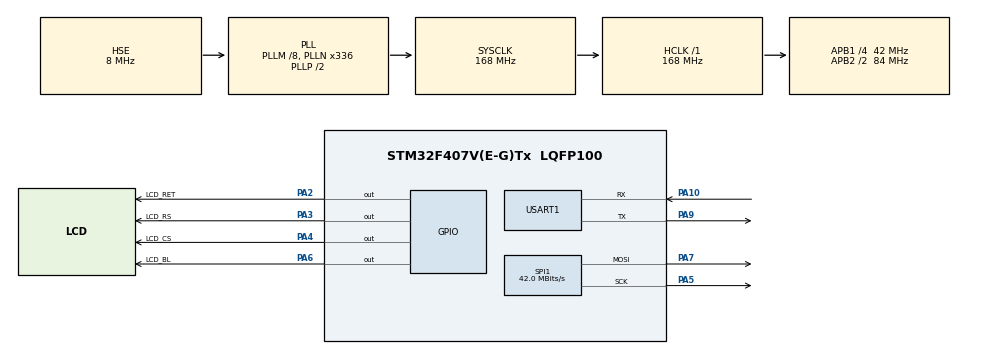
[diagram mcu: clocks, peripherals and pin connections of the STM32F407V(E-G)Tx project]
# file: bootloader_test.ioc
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Dma.Request0=USART1_RX
Dma.Request1=USART1_TX
Dma.Request2=SPI1_TX
Dma.SPI1_TX.2.Direction=DMA_MEMORY_TO_PERIPH
Dma.SPI1_TX.2.FIFOMode=DMA_FIFOMODE_DISABLE
Dma.SPI1_TX.2.Instance=DMA2_Stream3
Dma.SPI1_TX.2.MemDataAlignment=DMA_MDATAALIGN_BYTE
Dma.SPI1_TX.2.MemInc=DMA_MINC_ENABLE
Dma.SPI1_TX.2.Mode=DMA_NORMAL
Dma.SPI1_TX.2.PeriphDataAlignment=DMA_PDATAALIGN_BYTE
Dma.SPI1_TX.2.PeriphInc=DMA_PINC_DISABLE
Dma.SPI1_TX.2.Priority=DMA_PRIORITY_LOW
Dma.USART1_RX.0.Direction=DMA_PERIPH_TO_MEMORY
Dma.USART1_RX.0.FIFOMode=DMA_FIFOMODE_DISABLE
Dma.USART1_RX.0.Instance=DMA2_Stream2
Dma.USART1_RX.0.MemDataAlignment=DMA_MDATAALIGN_BYTE
Dma.USART1_RX.0.MemInc=DMA_MINC_ENABLE
Dma.USART1_RX.0.Mode=DMA_CIRCULAR
Dma.USART1_RX.0.PeriphDataAlignment=DMA_PDATAALIGN_BYTE
Dma.USART1_RX.0.PeriphInc=DMA_PINC_DISABLE
Dma.USART1_RX.0.Priority=DMA_PRIORITY_LOW
Dma.USART1_TX.1.Direction=DMA_MEMORY_TO_PERIPH
Dma.USART1_TX.1.FIFOMode=DMA_FIFOMODE_DISABLE
Dma.USART1_TX.1.Instance=DMA2_Stream7
Dma.USART1_TX.1.MemDataAlignment=DMA_MDATAALIGN_BYTE
Dma.USART1_TX.1.MemInc=DMA_MINC_ENABLE
Dma.USART1_TX.1.Mode=DMA_NORMAL
Dma.USART1_TX.1.PeriphDataAlignment=DMA_PDATAALIGN_BYTE
Dma.USART1_TX.1.PeriphInc=DMA_PINC_DISABLE
Dma.USART1_TX.1.Priority=DMA_PRIORITY_LOW
FREERTOS.Tasks01=led,0,128,ledTask,Default,NULL,Dynamic,NULL,NULL;oledmenu,0,256,oledmenuTask,Default,NULL,Dynamic,NULL,NULL;wifi_get,2,384,wifi_getTask,Default,NULL,Dynamic,NULL,NULL;ota_flash,2,256,ota_flashTask,Default,NULL,Dynamic,NULL,NULL;request_upgrade,0,128,request_upgradeTask,Default,NULL,Dynamic,NULL,NULL;lcd,-1,256,lcd_task,Default,NULL,Dynamic,NULL,NULL;feeddogTask,2,128,feeddog,Default,NULL,Dynamic,NULL,NULL
IWDG.Prescaler=IWDG_PRESCALER_64
Mcu.Family=STM32F4
Mcu.Name=STM32F407V(E-G)Tx
Mcu.Package=LQFP100
NVIC.DMA2_Stream2_IRQn=true\:5\:0\:false\:false\:true\:true\:false\:true\:true
NVIC.DMA2_Stream3_IRQn=true\:5\:0\:false\:false\:true\:true\:false\:true\:true
NVIC.DMA2_Stream7_IRQn=true\:5\:0\:false\:false\:true\:true\:false\:true\:true
NVIC.PriorityGroup=NVIC_PRIORITYGROUP_4
NVIC.SPI1_IRQn=true\:5\:0\:false\:false\:true\:true\:true\:true\:true
NVIC.TIM1_UP_TIM10_IRQn=true\:15\:0\:false\:false\:true\:false\:false\:true\:true
NVIC.TimeBase=TIM1_UP_TIM10_IRQn
NVIC.TimeBaseIP=TIM1
NVIC.USART1_IRQn=true\:5\:0\:false\:false\:true\:true\:false\:true\:true
PA10.Mode=Asynchronous
PA10.Signal=USART1_RX
PA13.Mode=Serial_Wire
PA13.Signal=SYS_JTMS-SWDIO
PA14.Mode=Serial_Wire
PA14.Signal=SYS_JTCK-SWCLK
PA2.GPIO_Label=LCD_RET
PA2.GPIO_Speed=GPIO_SPEED_FREQ_MEDIUM
PA2.Signal=GPIO_Output
PA3.GPIO_Label=LCD_RS
PA3.GPIO_Speed=GPIO_SPEED_FREQ_MEDIUM
PA3.Signal=GPIO_Output
PA4.GPIO_Label=LCD_CS
PA4.GPIO_Speed=GPIO_SPEED_FREQ_MEDIUM
PA4.Signal=GPIO_Output
PA5.GPIO_Speed=GPIO_SPEED_FREQ_VERY_HIGH
PA5.Mode=TX_Only_Simplex_Unidirect_Master
PA5.Signal=SPI1_SCK
PA6.GPIO_Label=LCD_BL
PA6.GPIO_Speed=GPIO_SPEED_FREQ_MEDIUM
PA6.Signal=GPIO_Output
PA7.GPIO_Speed=GPIO_SPEED_FREQ_VERY_HIGH
PA7.Mode=TX_Only_Simplex_Unidirect_Master
PA7.Signal=SPI1_MOSI
PA9.Mode=Asynchronous
PA9.Signal=USART1_TX
PC14-OSC32_IN.Mode=LSE-External-Oscillator
PC14-OSC32_IN.Signal=RCC_OSC32_IN
PC15-OSC32_OUT.Mode=LSE-External-Oscillator
PC15-OSC32_OUT.Signal=RCC_OSC32_OUT
PH0-OSC_IN.Mode=HSE-External-Oscillator
PH0-OSC_IN.Signal=RCC_OSC_IN
PH1-OSC_OUT.Mode=HSE-External-Oscillator
PH1-OSC_OUT.Signal=RCC_OSC_OUT
ProjectManager.HeapSize=0x200
ProjectManager.StackSize=0x400
ProjectManager.TargetToolchain=MDK-ARM V5.32
RCC.48MHZClocksFreq_Value=84000000
RCC.AHBFreq_Value=168000000
RCC.APB1CLKDivider=RCC_HCLK_DIV4
RCC.APB1Freq_Value=42000000
RCC.APB1TimFreq_Value=84000000
RCC.APB2CLKDivider=RCC_HCLK_DIV2
RCC.APB2Freq_Value=84000000
RCC.APB2TimFreq_Value=168000000
RCC.CortexFreq_Value=168000000
RCC.HCLKFreq_Value=168000000
RCC.HSE_VALUE=8000000
RCC.HSI_VALUE=16000000
RCC.PLLM=8
RCC.PLLN=336
RCC.PLLSourceVirtual=RCC_PLLSOURCE_HSE
RCC.SYSCLKFreq_VALUE=168000000
RCC.SYSCLKSource=RCC_SYSCLKSOURCE_PLLCLK
RCC.VCOOutputFreq_Value=336000000
SPI1.CalculateBaudRate=42.0 MBits/s
SPI1.Direction=SPI_DIRECTION_2LINES
SPI1.Mode=SPI_MODE_MASTER
SPI1.VirtualType=VM_MASTER
USART1.VirtualMode=VM_ASYNC
VP_FREERTOS_VS_CMSIS_V1.Mode=CMSIS_V1
VP_IWDG_VS_IWDG.Mode=IWDG_Activate
VP_SYS_VS_tim1.Mode=TIM1
board=custom

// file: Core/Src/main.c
/* USER CODE BEGIN Header */
/**
 ******************************************************************************
 * @file           : main.c
 * @brief          : Main program body
 ******************************************************************************
 * @attention
 *
 * Copyright (c) 2026 STMicroelectronics.
 * All rights reserved.
 *
 * This software is licensed under terms that can be found in the LICENSE file
 * in the root directory of this software component.
 * If no LICENSE file comes with this software, it is provided AS-IS.
 *
 ******************************************************************************
 */
/* USER CODE END Header */
#include "main.h"
#include "cmsis_os.h"
#include "dma.h"
#include "iwdg.h"
#include "spi.h"
#include "usart.h"
#include "gpio.h"

/* USER CODE BEGIN Includes */
#include "ota_receive.h"
/* USER CODE END Includes */

void SystemClock_Config(void);
void MX_FREERTOS_Init(void);

int main(void)
{

  /* USER CODE BEGIN 1 */
	/* 向量表必须指向本镜像实际链接的槽：A 版 0x08010000，B 版 0x08080000 */
	SCB->VTOR = APP_IMAGE_BASE;
  /* USER CODE END 1 */

  /* MCU Configuration--------------------------------------------------------*/

  /* Reset of all peripherals, Initializes the Flash interface and the Systick. */
  HAL_Init();

  /* Configure the system clock */
  SystemClock_Config();

  /* Initialize all configured peripherals */
  MX_GPIO_Init();
  MX_DMA_Init();
  MX_USART1_UART_Init();
  MX_SPI1_Init();
  MX_IWDG_Init();
  /* 调试暂停时冻结 IWDG，否则在 Keil 里单步几秒就会被看门狗复位 */
  __HAL_DBGMCU_FREEZE_IWDG();
  /* USER CODE BEGIN 2 */

	GPIO_InitTypeDef GPIO_InitStructure;
	GPIO_InitStructure.Pin = GPIO_PIN_1;
	GPIO_InitStructure.Mode = GPIO_MODE_OUTPUT_PP;
	GPIO_InitStructure.Speed = GPIO_SPEED_FREQ_MEDIUM;
	HAL_GPIO_Init(GPIOA, &GPIO_InitStructure);

	/*
	 * 启动初始化：
	 *   1. 元数据缺失时用当前运行槽建立第一份配置；
	 *   2. Bootloader 若做过回退，这里修正 active_slot 并标记失败槽；
	 *   3. 注意：不清 trial_pending，试运行确认由心跳任务在健康运行 5s 后完成。
	 */
	ota_app_boot_init(APP_IMAGE_BASE);

  /* USER CODE END 2 */

  /* Call init function for freertos objects (in cmsis_os2.c) */
  MX_FREERTOS_Init();

  /* 交给调度器前先喂一次狗，给任务启动留出完整的看门狗窗口 */
  HAL_IWDG_Refresh(&hiwdg);

  /* Start scheduler */
  osKernelStart();

  /* We should never get here as control is now taken by the scheduler */

  /* Infinite loop */
	while (1)
	{

	}
}

void SystemClock_Config(void)
{
  RCC_OscInitTypeDef RCC_OscInitStruct = {0};
  RCC_ClkInitTypeDef RCC_ClkInitStruct = {0};

  /** Configure the main internal regulator output voltage
  */
  __HAL_RCC_PWR_CLK_ENABLE();
  __HAL_PWR_VOLTAGESCALING_CONFIG(PWR_REGULATOR_VOLTAGE_SCALE1);

  /** Initializes the RCC Oscillators according to the specified parameters
  * in the RCC_OscInitTypeDef structure.
  */
  RCC_OscInitStruct.OscillatorType = RCC_OSCILLATORTYPE_LSI|RCC_OSCILLATORTYPE_HSE;
  RCC_OscInitStruct.HSEState = RCC_HSE_ON;
  RCC_OscInitStruct.LSIState = RCC_LSI_ON;
  RCC_OscInitStruct.PLL.PLLState = RCC_PLL_ON;
  RCC_OscInitStruct.PLL.PLLSource = RCC_PLLSOURCE_HSE;
  RCC_OscInitStruct.PLL.PLLM = 8;
  RCC_OscInitStruct.PLL.PLLN = 336;
  RCC_OscInitStruct.PLL.PLLP = RCC_PLLP_DIV2;
  RCC_OscInitStruct.PLL.PLLQ = 4;
  if (HAL_RCC_OscConfig(&RCC_OscInitStruct) != HAL_OK)
  {
    Error_Handler();
  }

  /** Initializes the CPU, AHB and APB buses clocks
  */
  RCC_ClkInitStruct.ClockType = RCC_CLOCKTYPE_HCLK|RCC_CLOCKTYPE_SYSCLK
                              |RCC_CLOCKTYPE_PCLK1|RCC_CLOCKTYPE_PCLK2;
  RCC_ClkInitStruct.SYSCLKSource = RCC_SYSCLKSOURCE_PLLCLK;
  RCC_ClkInitStruct.AHBCLKDivider = RCC_SYSCLK_DIV1;
  RCC_ClkInitStruct.APB1CLKDivider = RCC_HCLK_DIV4;
  RCC_ClkInitStruct.APB2CLKDivider = RCC_HCLK_DIV2;

  if (HAL_RCC_ClockConfig(&RCC_ClkInitStruct, FLASH_LATENCY_5) != HAL_OK)
  {
    Error_Handler();
  }
}

void HAL_TIM_PeriodElapsedCallback(TIM_HandleTypeDef *htim)
{
  if (htim->Instance == TIM1)
  {
    HAL_IncTick();
  }
}

void Error_Handler(void)
{
	__disable_irq();
	while (1)
	{
	}
}

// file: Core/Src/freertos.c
/* USER CODE BEGIN Header */
/**
 ******************************************************************************
 * File Name          : freertos.c
 * Description        : Code for freertos applications
 ******************************************************************************
 * @attention
 *
 * Copyright (c) 2026 STMicroelectronics.
 * All rights reserved.
 *
 * This software is licensed under terms that can be found in the LICENSE file
 * in the root directory of this software component.
 * If no LICENSE file comes with this software, it is provided AS-IS.
 *
 ******************************************************************************
 */
/* USER CODE END Header */

#include "FreeRTOS.h"
#include "task.h"
#include "main.h"
#include "cmsis_os.h"

/* USER CODE BEGIN Includes */
#include "stm32f4xx_hal.h"
#include <stdio.h>
#include "string.h"
#include "usart.h"
#include "iwdg.h"
#include "ota_receive.h"
#include "stream_buffer.h"
#include "queue.h"
#include "QDTFT_demo.h"
#include "Lcd_Driver.h"
#include "GUI.h"
/* USER CODE END Includes */

/* USER CODE BEGIN PD */

/*
 * 心跳位图：每个关键任务每轮循环给自己置一位，
 * feeddog 任务按 1s 窗口检查所有位是否都出现，全齐才喂狗。
 * 这样 IWDG 保护的是“任务级存活”，而不只是“CPU 还在跑”。
 */
#define HB_WIFI         (1U << 0)
#define HB_FLASH        (1U << 1)
#define HB_UPGRADE      (1U << 2)
#define HB_APP          (1U << 3)
#define HB_ALL          (HB_WIFI | HB_FLASH | HB_UPGRADE | HB_APP)

#define HB_CHECK_MS     100U
#define HB_WINDOW_TICKS (1000U / HB_CHECK_MS)   /* 1s 内必须收到所有任务的心跳 */

/* USER CODE END PD */

/* USER CODE BEGIN Variables */

/* 结束帧解析出的固件信息，供 request_upgrade_task 写入 config */
static uint32_t g_firmware_size = 0;
static uint32_t g_firmware_crc  = 0;
static uint32_t g_target_slot   = 0;   /* 本次下载写入的槽：0 = A，1 = B */

/* 各关键任务的心跳位图，由 feeddog 任务按窗口收集 */
static volatile uint32_t g_hb_mask = 0;

/* 固件下载中 / 元数据写入中：两条流程不能同时操作 Flash */
static volatile uint32_t g_ota_busy  = 0;
static volatile uint32_t g_meta_busy = 0;

static void hb_set(uint32_t bit)
{
	taskENTER_CRITICAL();
	g_hb_mask |= bit;
	taskEXIT_CRITICAL();
}

/* USER CODE END Variables */
osThreadId ledHandle;
osThreadId oledmenuHandle;
osThreadId wifi_getHandle;
osThreadId ota_flashHandle;
osThreadId request_upgradeHandle;
osThreadId lcdHandle;
osThreadId feeddogTaskHandle;

void ledTask(void const * argument);
void oledmenuTask(void const * argument);
void wifi_getTask(void const * argument);
void ota_flashTask(void const * argument);
void request_upgradeTask(void const * argument);
void lcd_task(void const * argument);
void feeddog(void const * argument);

void MX_FREERTOS_Init(void); /* (MISRA C 2004 rule 8.1) */

/* GetIdleTaskMemory prototype (linked to static allocation support) */
void vApplicationGetIdleTaskMemory( StaticTask_t **ppxIdleTaskTCBBuffer, StackType_t **ppxIdleTaskStackBuffer, uint32_t *pulIdleTaskStackSize );

/* USER CODE BEGIN GET_IDLE_TASK_MEMORY */
static StaticTask_t xIdleTaskTCBBuffer;
static StackType_t xIdleStack[configMINIMAL_STACK_SIZE];

void vApplicationGetIdleTaskMemory(StaticTask_t **ppxIdleTaskTCBBuffer, StackType_t **ppxIdleTaskStackBuffer, uint32_t *pulIdleTaskStackSize)
{
	*ppxIdleTaskTCBBuffer = &xIdleTaskTCBBuffer;
	*ppxIdleTaskStackBuffer = &xIdleStack[0];
	*pulIdleTaskStackSize = configMINIMAL_STACK_SIZE;
	/* place for user code */
}
/* USER CODE END GET_IDLE_TASK_MEMORY */

void MX_FREERTOS_Init(void) {
  /* USER CODE BEGIN Init */
	/* 创建流缓冲区与队列：必须在任何任务使用它们之前调用 */
	ota_receive_init();
  /* USER CODE END Init */

  /* USER CODE BEGIN RTOS_QUEUES */
	/* xFrameQueue / atQueue 由 ota_receive_init() 创建：元素分别是 fw_frame_t 和 AT_LINE_MAX 字节的行，
	   不能用 CMSIS 消息队列（只支持 1/2/4/8 字节元素） */
  /* USER CODE END RTOS_QUEUES */

  /* Create the thread(s) */
  /* definition and creation of led */
  osThreadDef(led, ledTask, osPriorityNormal, 0, 128);
  ledHandle = osThreadCreate(osThread(led), NULL);

  /* definition and creation of oledmenu */
  osThreadDef(oledmenu, oledmenuTask, osPriorityNormal, 0, 256);
  oledmenuHandle = osThreadCreate(osThread(oledmenu), NULL);

  /* definition and creation of wifi_get */
  osThreadDef(wifi_get, wifi_getTask, osPriorityHigh, 0, 384);
  wifi_getHandle = osThreadCreate(osThread(wifi_get), NULL);

  /* definition and creation of ota_flash */
  osThreadDef(ota_flash, ota_flashTask, osPriorityHigh, 0, 256);
  ota_flashHandle = osThreadCreate(osThread(ota_flash), NULL);

  /* definition and creation of request_upgrade */
  osThreadDef(request_upgrade, request_upgradeTask, osPriorityNormal, 0, 512);
  request_upgradeHandle = osThreadCreate(osThread(request_upgrade), NULL);

  /* definition and creation of lcd */
  osThreadDef(lcd, lcd_task, osPriorityBelowNormal, 0, 256);
  lcdHandle = osThreadCreate(osThread(lcd), NULL);

  /* definition and creation of feeddogTask */
  osThreadDef(feeddogTask, feeddog, osPriorityHigh, 0, 512);
  feeddogTaskHandle = osThreadCreate(osThread(feeddogTask), NULL);

  /* USER CODE BEGIN RTOS_THREADS */
	/* ota_flashTask 通过这个句柄通知 request_upgradeTask，必须在任务启动前绑定 */
	xrequest_upgrade_taskHandle = request_upgradeHandle;
  /* USER CODE END RTOS_THREADS */

}

void ledTask(void const * argument)
{
  /* USER CODE BEGIN ledTask */
    HAL_GPIO_WritePin(GPIOA, GPIO_PIN_1,GPIO_PIN_RESET);
    osDelay(500);

	/* Infinite loop */
	for (;;)
	{
		hb_set(HB_APP);
		HAL_GPIO_TogglePin(GPIOA, GPIO_PIN_1);

		osDelay(500);
	}
  /* USER CODE END ledTask */
}

void oledmenuTask(void const * argument)
{
  /* USER CODE BEGIN oledmenuTask */
	/* Infinite loop */
	for (;;)
	{
		static const char msg[] = "here is oledmenuTask!\r\n";
		uart_send((const uint8_t *)msg, sizeof(msg) - 1);
		osDelay(10000);
	}
  /* USER CODE END oledmenuTask */
}

/* USER CODE BEGIN Header_wifi_getTask */
/**
 * @brief Function implementing the wifi_get thread.
 * @param argument: Not used
 * @retval None
 */
/* ==================== 逐字节解析帧状态机 + AT 行处理 ==================== */
/* USER CODE END Header_wifi_getTask */
void wifi_getTask(void const * argument)
{
  /* USER CODE BEGIN wifi_getTask */
	/* Infinite loop */

	uint8_t byte;
	uint8_t line[AT_LINE_MAX];
	size_t line_len = 0;
	parser_t parser;

	/* 初始化解析器 */
	memset(&parser, 0, sizeof(parser));
	parser.state = 0; /* ST_HEADER_1 */

	TickType_t last_report = xTaskGetTickCount();

	for (;;)
	{
		hb_set(HB_WIFI);

		/*
		 * 每秒打印一次状态。
		 * 注意：这里不能调用 osDelay()，否则整个循环被拖成 1 字节/秒，
		 * OTA 数据会被 StreamBuffer 丢弃，永远收不到结束帧。
		 */
		if ((xTaskGetTickCount() - last_report) >= pdMS_TO_TICKS(1000))
		{
			char version_str[32];
			last_report = xTaskGetTickCount();

			/* 将 0x00010001 拆解成 V1.1 的字符串 */
			sprintf(version_str, "Version: V%d.%d\r\n",
			        (CURRENT_VERSION >> 16) & 0xFF, CURRENT_VERSION & 0xFF);
			uart_send((uint8_t *)version_str, strlen(version_str));

			static const char msg[] = "here is wifi_getTask!\r\n";
			uart_send((const uint8_t *)msg, sizeof(msg) - 1);
		}

		/* 一次读一个字节；20ms 超时只是为了回到循环顶部打印状态 */
		if (xStreamBufferReceive(uartStreamBuffer, &byte, 1, pdMS_TO_TICKS(20)) != 1)
			continue;

		/* ---------- 状态机 ---------- */
		switch (parser.state)
		{

		/* ===== 状态 0：等 0x55，同时处理 AT 行 ===== */
		case 0: /* ST_HEADER_1 */
			/* AT 行处理：遇到 \n 提交一行 */
			if (byte == '\n' && line_len > 0)
			{
				line[line_len] = '\0';
				xQueueSend(atQueue, line, 0);
				line_len = 0;
			}
			else if (byte != '\r')
			{
				if (line_len < AT_LINE_MAX - 1)
					line[line_len++] = byte;
			}

			/* 检测帧头起点 */
			if (byte == FRAME_HEADER_1)
			{
				parser.state = 1; /* ST_HEADER_2 */
			}
			break;

		/* ===== 状态 1：等 0x44 ===== */
		case 1: /* ST_HEADER_2 */
			if (byte == FRAME_HEADER_2)
			{
				/* 帧头确认，从帧池分配 slot */
				parser.slot = frame_pool_alloc();
				if (parser.slot == NULL)
				{
					parser.state = 0; /* 无空闲 slot，丢弃这一帧 */
					break;
				}
				parser.crc32 = 0;
				parser.crc_byte_idx = 0;
				parser.data_idx = 0;
				parser.state = 2; /* ST_TOTAL */
			}
			else if (byte == FRAME_HEADER_1)
			{
				/* 连续 0x55，保持在 ST_HEADER_2 */
				parser.state = 1;
			}
			else
			{
				/* 不是 0x44，回起点；当前字节按 AT 处理 */
				if (byte == '\n' && line_len > 0)
				{
					line[line_len] = '\0';
					xQueueSend(atQueue, line, 0);
					line_len = 0;
				}
				else if (byte != '\r')
				{
					if (line_len < AT_LINE_MAX - 1)
						line[line_len++] = byte;
				}
				parser.state = 0;
			}
			break;

		/* ===== 状态 2：读总包数 ===== */
		case 2: /* ST_TOTAL */
			parser.total_packets = byte;
			parser.state = 3; /* ST_CURRENT */
			break;

		/* ===== 状态 3：读当前包号 ===== */
		case 3: /* ST_CURRENT */
			parser.current_packet = byte;
			parser.data_len = 0;
			parser.len_byte_idx = 0;
			parser.state = 4; /* ST_LEN */
			break;

		/* ===== 状态 4：读实际长度（2 字节，小端） ===== */
		case 4: /* ST_LEN */
			parser.data_len |= (uint16_t)((uint16_t)byte << (parser.len_byte_idx * 8));
			parser.len_byte_idx++;
			if (parser.len_byte_idx >= 2)
			{
				if (parser.data_len == 0 || parser.data_len > DATA_FRAME_LEN)
				{
					/* 非法长度，回起点，释放 slot */
					frame_pool_free(parser.slot);
					parser.slot = NULL;
					parser.state = 0;
				}
				else
				{
					parser.crc_byte_idx = 0;
					parser.state = 5; /* ST_CRC */
				}
			}
			break;

		/* ===== 状态 5：读 4 字节 CRC32（小端） ===== */
		case 5: /* ST_CRC */
			parser.crc32 |= ((uint32_t)byte) << (parser.crc_byte_idx * 8);
			parser.crc_byte_idx++;
			if (parser.crc_byte_idx >= 4)
			{
				parser.data_idx = 0;
				parser.state = 6; /* ST_DATA */
			}
			break;

		/* ===== 状态 6：读数据（固定 DATA_FRAME_LEN 字节） ===== */
		case 6: /* ST_DATA */
			parser.slot->buf[parser.data_idx++] = byte;
			if (parser.data_idx >= DATA_FRAME_LEN)
			{
				parser.state = 7; /* ST_TAIL_1 */
			}
			break;

		/* ===== 状态 7：等 0x33 ===== */
		case 7: /* ST_TAIL_1 */
			if (byte == FRAME_TAIL_1)
			{
				parser.state = 8; /* ST_TAIL_2 */
			}
			else
			{
				frame_pool_free(parser.slot);
				parser.slot = NULL;
				parser.state = 0;
			}
			break;

		/* ===== 状态 8：等 0x22，帧完成 ===== */
		case 8: /* ST_TAIL_2 */
			if (byte == FRAME_TAIL_2)
			{
				/* 帧完成，校验 CRC */
				parser.crc_calc = calculate_crc32_ex(
					parser.total_packets,
					parser.current_packet,
					parser.data_len,
					parser.slot->buf);

				if (parser.crc_calc == parser.crc32)
				{
					/* CRC 通过，交给 Flash 写入 */
					fw_frame_t frame;
					frame.total_packets = parser.total_packets;
					frame.current_packet = parser.current_packet;
					frame.data_len = parser.data_len;
					frame.crc32 = parser.crc32;
					frame.slot = parser.slot;

					if (xQueueSend(xFrameQueue, &frame, 0) != pdTRUE)
					{
						/* 队列满，归还 slot */
						frame_pool_free(parser.slot);
					}
					/* 注意：slot 在这里不 free，由 Flash 任务 free */
				}
				else
				{
					/* CRC 失败，归还 slot */
					frame_pool_free(parser.slot);
				}
				parser.slot = NULL;
				parser.state = 0;
				line_len = 0;
			}
			else
			{
				frame_pool_free(parser.slot);
				parser.slot = NULL;
				parser.state = 0;
			}
			break;

		default:
			parser.state = 0;
			break;
		}
	}
  /* USER CODE END wifi_getTask */
}

/* USER CODE BEGIN Header_ota_flashTask */
/**
 * @brief Function implementing the ota_flash thread.
 * @param argument: Not used
 * @retval None
 */
/* ==================== Flash 写任务 ==================== */
/* USER CODE END Header_ota_flashTask */
void ota_flashTask(void const * argument)
{
  /* USER CODE BEGIN ota_flashTask */
	/* Infinite loop */

	fw_frame_t frame;
	uint32_t write_addr;
	uint32_t received_count = 0;        /* 已成功写入的数据帧数，用于收齐校验 */
	uint32_t erased_sector_base = 0xFFFFFFFFU;  /* 本次传输已擦除的扇区基址 */
	uint32_t target_base = 0;           /* 本次传输的目标槽基址 */
	uint32_t target_slot = 0;           /* 本次传输的目标槽：0 = A，1 = B */

	(void)argument;

	for (;;)
	{
		hb_set(HB_FLASH);

		/* 200ms 超时只是为了周期性回到循环顶部打卡，收帧仍按队列事件触发 */
		if (xQueueReceive(xFrameQueue, &frame, pdMS_TO_TICKS(200)) != pdTRUE)
			continue;

		/* 判断是否是结束帧 */
		if (frame.current_packet == PACKET_END)
		{
			uint32_t fw_size = 0;
			uint32_t fw_crc = 0;
			int verified = 0;

			/* 结束帧负载：data[0:4]=固件总长(小端), data[4:8]=整包 CRC32(小端) */
			if (frame.data_len >= 8)
			{
				fw_size = (uint32_t)frame.slot->buf[0] | ((uint32_t)frame.slot->buf[1] << 8) | ((uint32_t)frame.slot->buf[2] << 16) | ((uint32_t)frame.slot->buf[3] << 24);
				fw_crc = (uint32_t)frame.slot->buf[4] | ((uint32_t)frame.slot->buf[5] << 8) | ((uint32_t)frame.slot->buf[6] << 16) | ((uint32_t)frame.slot->buf[7] << 24);
			}
			frame_pool_free(frame.slot);

			/*
			 * 全量校验：收齐包数 + 直接读回目标槽算整包 CRC + 向量表检查。
			 * 只有这三项都通过，才允许把 active_slot 切到新槽。
			 */
			if (target_base != 0U && fw_size != 0U && fw_size <= SLOT_CAPACITY &&
			    received_count == frame.total_packets)
			{
				uint32_t calc_crc = ota_crc32_bytes((const void *)target_base, fw_size);

				if (calc_crc == fw_crc && ota_image_vectors_valid(target_base))
				{
					g_firmware_size = fw_size;
					g_firmware_crc  = fw_crc;
					g_target_slot   = target_slot;
					verified = 1;
				}
			}

			if (verified)
			{
				xTaskNotify(xrequest_upgrade_taskHandle, 0x01, eSetValueWithOverwrite);
			}
			else
			{
				char err[72];
				int n = sprintf(err, "ota verify fail! recv=%lu/%u size=%lu\r\n",
				                (unsigned long)received_count,
				                (unsigned int)frame.total_packets,
				                (unsigned long)fw_size);
				uart_send((const uint8_t *)err, (uint32_t)n);
			}

			received_count = 0;
			erased_sector_base = 0xFFFFFFFFU;
			target_base = 0;   /* 等待下一轮的包 0 */
			g_ota_busy = 0;
			continue;          /* 结束帧不写 Flash，直接继续 */
		}

		/* 新一轮传输开始：目标槽 = 当前运行槽之外的另一个槽 */
		if (frame.current_packet == 0)
		{
			received_count = 0;
			erased_sector_base = 0xFFFFFFFFU;
			g_ota_busy = 1;    /* 下载期间禁止 feeddog 写元数据确认 */

			/*
			 * 只用“本镜像的链接地址”判断当前运行槽，不去猜元数据。
			 * 这样无论元数据是否损坏、是否与实际运行槽不一致，
			 * 都绝不会把正在运行的固件擦掉。
			 */
			target_slot = (uint32_t)(APP_IMAGE_SLOT ^ 1U);
			target_base = (target_slot == 0U) ? SLOT_A_BASE : SLOT_B_BASE;
		}

		if (target_base == 0U)
		{
			/* 没收到包 0，无法确定目标槽，丢弃 */
			frame_pool_free(frame.slot);
			continue;
		}

		write_addr = target_base + ((uint32_t)frame.current_packet * DATA_FRAME_LEN);

		/* 边界保护：不能写穿目标槽容量 */
		if (write_addr + DATA_FRAME_LEN > (target_base + SLOT_CAPACITY))
		{
			frame_pool_free(frame.slot);
			continue;
		}

		/* 等 feeddog 的元数据写入结束，避免两条流程同时操作 Flash */
		while (g_meta_busy)
		{
			osDelay(10);
		}

		{
			uint32_t sector_base = get_sector_base(write_addr);

			/* 首次写到一个扇区时才擦除；擦除单位取该扇区的真实大小（16/64/128KB） */
			if (sector_base != erased_sector_base)
			{
				uint32_t sector_size = get_sector_size(get_sector(sector_base));

				if (flash_erase(sector_base, sector_size) != Status_OK)
				{
					frame_pool_free(frame.slot);
					continue;
				}
				erased_sector_base = sector_base;
			}
		}

		/* 写 Flash，只写实际长度，不写 padding */
		if (flash_write(write_addr, frame.slot->buf, frame.data_len) == Status_OK)
			received_count++; /* 写入成功，计入已收帧数 */

		/* 归还 slot */
		frame_pool_free(frame.slot);
	}
  /* USER CODE END ota_flashTask */
}

void request_upgradeTask(void const * argument)
{
  /* USER CODE BEGIN request_upgradeTask */
	/* Infinite loop */

	(void)argument;

	for (;;)
	{
		ota_config_t meta;
		uint8_t current_slot;
		uint8_t target_slot;
		int ret;

		hb_set(HB_UPGRADE);

		/* 200ms 超时用于周期打卡；只有收到通知才继续升级流程 */
		if (xTaskNotifyWait(0, 0, NULL, pdMS_TO_TICKS(200)) != pdTRUE)
			continue;

		if (xWifisendTaskHandle != NULL)
			xTaskNotify(xWifisendTaskHandle, 0x02, eSetValueWithOverwrite);

		target_slot = (uint8_t)g_target_slot;
		if (target_slot > 1U || g_firmware_size == 0U)
			continue;

		/* 当前运行槽一定是目标槽的另一半 */
		current_slot = (uint8_t)(target_slot ^ 1U);

		if (ota_meta_load(&meta) != 0)
		{
			/* 元数据缺失（工厂状态）：把当前实际运行的槽登记为 VALID */
			memset(&meta, 0, sizeof(meta));
			meta.magic = OTA_META_MAGIC;
			meta.active_slot = current_slot;
			meta.prev_slot = target_slot;
			meta.slot_state[current_slot] = SLOT_STATE_VALID;
			meta.version[current_slot] = CURRENT_VERSION;
			meta.slot_size[current_slot] = 0;
			meta.slot_crc[current_slot] = 0;
		}

		/*
		 * 切换标志：active_slot 指向新槽，Bootloader 下次启动直接跳过去。
		 * trial_pending 置 1，由新固件的心跳任务在健康运行 5s 后清零；
		 * 若一直不确认，Bootloader 会在 trial_count 达到上限后回滚到 prev_slot。
		 */
		meta.magic = OTA_META_MAGIC;
		meta.prev_slot = current_slot;
		meta.active_slot = target_slot;
		meta.trial_pending = 1;
		meta.trial_count = 0;
		meta.slot_state[target_slot] = SLOT_STATE_VALID;
		meta.slot_state[current_slot] = SLOT_STATE_VALID;
		meta.version[target_slot] = CURRENT_VERSION;  /* 新固件启动后会修正为自己的版本 */
		meta.slot_size[target_slot] = g_firmware_size;
		meta.slot_crc[target_slot] = g_firmware_crc;
		meta.dl_state = 0;
		meta.dl_slot = target_slot;
		meta.dl_total = 0;
		memset(meta.rx_bitmap, 0, sizeof(meta.rx_bitmap));

		/* 写非活动副本 + 读回校验，成功后再复位 */
		g_meta_busy = 1;
		ret = ota_meta_save(&meta);
		g_meta_busy = 0;
		if (ret == 0)
		{
			static const char ok[] = "upgrade ok, reboot to new slot...\r\n";
			uart_send((const uint8_t *)ok, sizeof(ok) - 1);
			osDelay(50);
			NVIC_SystemReset();
		}
		else
		{
			static const char err[] = "meta save fail!\r\n";
			uart_send((const uint8_t *)err, sizeof(err) - 1);
		}
	}
  /* USER CODE END request_upgradeTask */
}

void lcd_task(void const * argument)
{
  /* USER CODE BEGIN lcd_task */

  /* Infinite loop */
  for(;;)
  {
	// QDTFT_Test_Demo();
    osDelay(10);
  }
  /* USER CODE END lcd_task */
}

void feeddog(void const * argument)
{
  /* USER CODE BEGIN feeddog */
	uint32_t seen = 0;
	uint32_t ticks = 0;
	uint32_t healthy_ms = 0;
	int confirmed = 0;

	(void)argument;

	/*
	 * 每 100ms 收集一次心跳，按 1s 窗口判定：
	 *   - 窗口内四个关键任务都打过卡 → 喂狗；
	 *   - 有任务缺席 → 不喂，交给 IWDG 复位（新固件会被 Bootloader 回滚）。
	 * 连续 5s 健康后，确认本次试运行成功，清掉 trial_pending。
	 */
	for (;;)
	{
		taskENTER_CRITICAL();
		seen |= g_hb_mask;
		g_hb_mask = 0;
		taskEXIT_CRITICAL();

		if (++ticks >= HB_WINDOW_TICKS)
		{
			if (seen == HB_ALL)
			{
				HAL_IWDG_Refresh(&hiwdg);

				if (!confirmed)
				{
					healthy_ms += 1000U;
					/* 下载/写元数据期间不确认，避免和 ota_flashTask 抢 Flash */
					if (healthy_ms >= OTA_CONFIRM_WINDOW_MS && !g_ota_busy)
					{
						int ret;
						g_meta_busy = 1;
						ret = ota_app_confirm_healthy(APP_IMAGE_BASE);
						g_meta_busy = 0;

						if (ret >= 0)
						{
							confirmed = 1;
							if (ret == 1)
							{
								static const char msg[] = "trial confirmed\r\n";
								uart_send((const uint8_t *)msg, sizeof(msg) - 1);
							}
						}
					}
				}
			}
			else
			{
				/* 有任务缺席：清零健康计时，且本窗口不喂狗 */
				healthy_ms = 0;
			}

			seen = 0;
			ticks = 0;
		}

		osDelay(HB_CHECK_MS);
	}
  /* USER CODE END feeddog */
}
